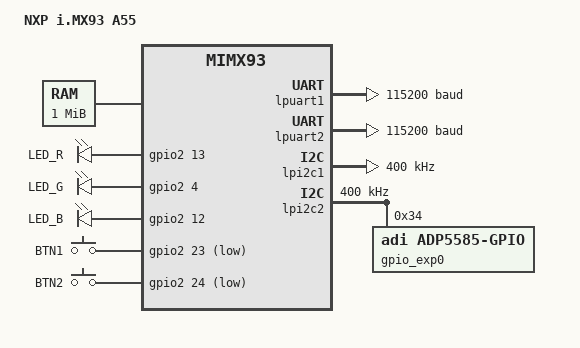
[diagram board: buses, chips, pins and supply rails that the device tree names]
/*
 * Copyright 2022 NXP
 *
 * SPDX-License-Identifier: Apache-2.0
 */

/dts-v1/;

#include <nxp/nxp_mimx93_a55.dtsi>
#include "mimx93_evk-pinctrl.dtsi"

/ {
	model = "NXP i.MX93 A55";
	compatible = "fsl,mimx93";

	chosen {
		zephyr,console = &lpuart2;
		zephyr,shell-uart = &lpuart2;
		zephyr,sram = &sram0;
	};

	cpus {
		cpu@0 {
			status = "disabled";
		};
	};

	sram0: memory@c0000000 {
		reg = <0xc0000000 DT_SIZE_M(1)>;
	};

	aliases {
		led0 = &led_r;
		sw0 = &btn_1;
	};

	leds {
		compatible = "gpio-leds";
		led_r: led_r {
			label = "LED_R";
			gpios = <&gpio2 13 GPIO_ACTIVE_HIGH>;
		};
		led_g: led_g {
			label = "LED_G";
			gpios = <&gpio2 4 GPIO_ACTIVE_HIGH>;
		};
		led_b: led_b {
			label = "LED_B";
			gpios = <&gpio2 12 GPIO_ACTIVE_HIGH>;
		};
	};

	keys {
		compatible = "gpio-keys";

		btn_1: btn_1{
			label = "BTN1";
			gpios = <&gpio2 23 GPIO_ACTIVE_LOW>;
		};

		btn_2: btn_2{
			label = "BTN2";
			gpios = <&gpio2 24 GPIO_ACTIVE_LOW>;
		};
	};

	flexcan2_phy: can-phy-tja1057 {
		compatible = "nxp,tja1057", "can-transceiver-gpio";
		max-bitrate = <10000000>;
		standby-gpios = <&gpio_exp0 8 GPIO_ACTIVE_HIGH>;
		#phy-cells = <0>;
		status = "disabled";
	};
};

&lpuart1 {
	status = "okay";
	current-speed = <115200>;
	/* clocks = <&ccm IMX_CCM_UART4_CLK 0x6c 24>; */
	pinctrl-0 = <&uart1_default>;
	pinctrl-names = "default";
};

&lpuart2 {
	status = "okay";
	current-speed = <115200>;
	/* clocks = <&ccm IMX_CCM_UART4_CLK 0x6c 24>; */
	pinctrl-0 = <&uart2_default>;
	pinctrl-names = "default";
};

&gpio1 {
	status = "okay";
};

&gpio2 {
	status = "okay";
};

&gpio3 {
	status = "okay";
};

&gpio4 {
	status = "okay";
};

&lpi2c1 {
	status = "okay";
	clock-frequency = <I2C_BITRATE_FAST>;
	pinctrl-0 = <&i2c1_default>;
	pinctrl-names = "default";
};

&lpi2c2 {
	status = "okay";
	clock-frequency = <I2C_BITRATE_FAST>;
	pinctrl-0 = <&i2c2_default>;
	pinctrl-names = "default";

	gpio_exp0: adp5585@34 {
		compatible = "adi,adp5585-gpio";
		reg = <0x34>;
		gpio-controller;
		#gpio-cells = <2>;
		ngpios = <10>;
		gpio-reserved-ranges = <5 3>;

		gpiohog_exp_sel: exp-sel-hog {
			gpio-hog;
			gpios = <4 GPIO_ACTIVE_HIGH>;
			line-name = "exp_sel";
		};
	};
};

&flexcan2 {
	pinctrl-0 = <&flexcan2_default>;
	pinctrl-names = "default";
	bus-speed = <125000>;
	phys = <&flexcan2_phy>;
	status = "disabled";
};
